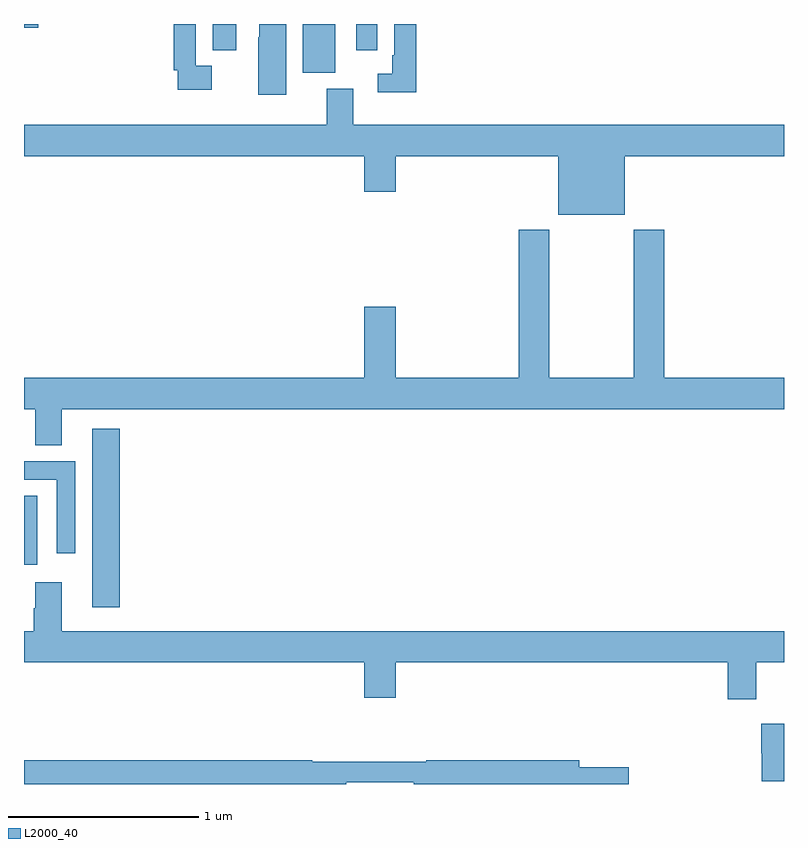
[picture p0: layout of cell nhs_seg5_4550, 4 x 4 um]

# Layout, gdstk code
import gdstk
lib = gdstk.Library(unit=1e-6, precision=1e-09)
def R(c, l, rs):  # rectangles x0, y0, x1, y1
    for r in rs: c.add(gdstk.rectangle(r[:2], r[2:], *l))
def P(c, l, *ps):  # polygons
    for p in ps: c.add(gdstk.Polygon(p, *l))
L2000_40 = (2000, 40)

nhs_seg5_4550 = lib.new_cell('nhs_seg5_4550')
R(nhs_seg5_4550, L2000_40, [(379.358,843.729,379.505,844.669), (379,843.954,379.069,844.316), (380.468,846.542,380.638,846.799), (380.748,846.66,380.86,846.799), (379.994,846.661,380.116,846.799), (379,846.779,379.075,846.799)])
P(nhs_seg5_4550, L2000_40, [(379.988,846.58),(379.905,846.58),(379.905,846.799),(379.789,846.799),(379.789,846.556),(379.809,846.556),(379.809,846.452),(379.988,846.452)],
  [(380.38,846.799),(380.238,846.799),(380.238,846.728),(380.234,846.728),(380.234,846.426),(380.38,846.426)],
  [(381.065,846.799),(380.949,846.799),(380.949,846.634),(380.937,846.634),(380.937,846.537),(380.862,846.537),(380.862,846.44),(381.065,846.44)],
  [(382.162,846.104),(383,846.104),(383,846.268),(380.734,846.268),(380.734,846.457),(380.594,846.457),(380.594,846.268),(379,846.268),(379,846.104),(380.792,846.104),(380.792,845.916),(380.956,845.916),(380.956,846.104),(381.812,846.104),(381.812,845.795),(382.162,845.795)],
  [(379.198,844.772),(383,844.772),(383,844.936),(382.37,844.936),(382.37,845.716),(382.21,845.716),(382.21,844.936),(381.765,844.936),(381.765,845.716),(381.605,845.716),(381.605,844.936),(380.956,844.936),(380.956,845.311),(380.792,845.311),(380.792,844.936),(379,844.936),(379,844.772),(379.058,844.772),(379.058,844.582),(379.198,844.582)],
  [(379.269,844.497),(379,844.497),(379,844.401),(379.173,844.401),(379.173,844.014),(379.269,844.014)],
  [(382.855,843.44),(383,843.44),(383,843.604),(379.198,843.604),(379.198,843.862),(379.058,843.862),(379.058,843.725),(379.051,843.725),(379.051,843.604),(379,843.604),(379,843.44),(380.792,843.44),(380.792,843.252),(380.956,843.252),(380.956,843.44),(382.703,843.44),(382.703,843.246),(382.855,843.246)],
  [(383,843.115),(382.88,843.115),(382.88,842.961),(382.882,842.961),(382.882,842.813),(383,842.813)],
  [(380.696,842.807),(381.052,842.807),(381.052,842.799),(382.183,842.799),(382.183,842.888),(381.922,842.888),(381.922,842.924),(381.118,842.924),(381.118,842.917),(380.518,842.917),(380.518,842.924),(379,842.924),(379,842.799),(380.696,842.799)])

lib.write_gds('nhs_seg5_4550.gds')
